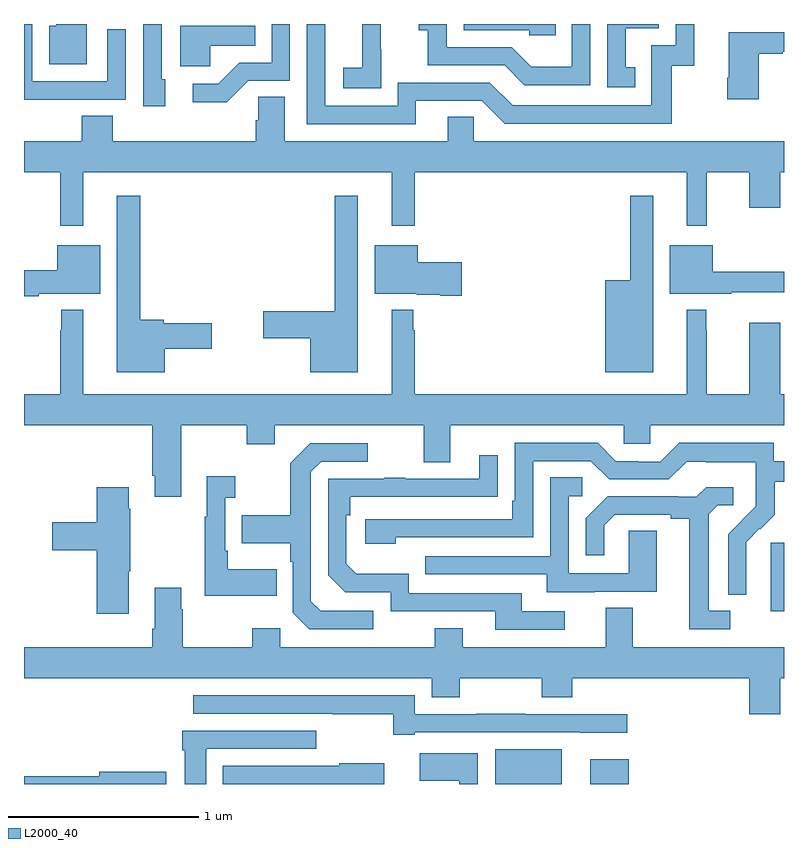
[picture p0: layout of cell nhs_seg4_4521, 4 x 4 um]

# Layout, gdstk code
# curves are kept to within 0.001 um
import gdstk
lib = gdstk.Library(unit=1e-6, precision=1e-09)
def R(c, l, rs):  # rectangles x0, y0, x1, y1
    for r in rs: c.add(gdstk.rectangle(r[:2], r[2:], *l))
def P(c, l, *ps):  # polygons
    for p in ps: c.add(gdstk.Polygon(p, *l))
L2000_40 = (2000, 40)

nhs_seg4_4521 = lib.new_cell('nhs_seg4_4521')
R(nhs_seg4_4521, L2000_40, [(355.481,826.9,355.831,827.083), (355.979,826.9,356.182,827.029), (356.93,827.81,357,828.171)])
P(nhs_seg4_4521, L2000_40, [(355.799,830.9),(355.314,830.9),(355.314,830.868),(355.659,830.868),(355.659,830.841),(355.799,830.841)],
  [(353.219,830.502),(353.535,830.502),(353.535,830.872),(353.439,830.872),(353.439,830.598),(353.043,830.598),(353.043,830.9),(353,830.9),(353,830.501),(353.219,830.501)],
  [(354.879,830.767),(354.878,830.767),(354.878,830.9),(354.779,830.9),(354.779,830.671),(354.681,830.671),(354.681,830.561),(354.879,830.561)],
  [(355.98,830.9),(355.884,830.9),(355.884,830.674),(355.67,830.674),(355.566,830.778),(355.224,830.778),(355.224,830.9),(355.077,830.9),(355.077,830.867),(355.126,830.867),(355.126,830.682),(355.529,830.682),(355.634,830.577),(355.98,830.577)],
  [(356.216,830.673),(356.167,830.673),(356.167,830.877),(356.34,830.877),(356.34,830.9),(356.07,830.9),(356.07,830.568),(356.216,830.568)],
  [(354.18,830.601),(354.399,830.601),(354.399,830.9),(354.303,830.9),(354.303,830.697),(354.134,830.697),(354.023,830.586),(353.889,830.586),(353.889,830.489),(354.067,830.489)],
  [(353.329,830.9),(353.171,830.9),(353.171,830.89),(353.132,830.89),(353.132,830.687),(353.329,830.687)],
  [(355.063,830.496),(355.41,830.496),(355.53,830.376),(356.41,830.376),(356.41,830.679),(356.528,830.679),(356.528,830.9),(356.43,830.9),(356.43,830.787),(356.301,830.787),(356.301,830.472),(355.572,830.472),(355.452,830.592),(354.966,830.592),(354.966,830.469),(354.585,830.469),(354.585,830.9),(354.489,830.9),(354.489,830.373),(355.063,830.373)],
  [(353.743,830.61),(353.724,830.61),(353.724,830.9),(353.628,830.9),(353.628,830.466),(353.743,830.466)],
  [(353.979,830.786),(354.218,830.786),(354.218,830.89),(353.822,830.89),(353.822,830.678),(353.979,830.678)],
  [(356.866,830.743),(356.993,830.743),(356.993,830.753),(357,830.753),(357,830.857),(356.708,830.857),(356.708,830.617),(356.701,830.617),(356.701,830.505),(356.866,830.505)],
  [(353.311,830.12),(354.935,830.12),(354.935,829.839),(355.057,829.839),(355.057,830.12),(356.489,830.12),(356.489,829.839),(356.593,829.839),(356.593,830.12),(356.816,830.12),(356.816,829.932),(356.98,829.932),(356.98,830.12),(357,830.12),(357,830.284),(355.368,830.284),(355.368,830.411),(355.229,830.411),(355.229,830.284),(354.373,830.284),(354.373,830.516),(354.234,830.516),(354.234,830.393),(354.221,830.393),(354.221,830.284),(353.468,830.284),(353.468,830.417),(353.303,830.417),(353.303,830.284),(353,830.284),(353,830.12),(353.19,830.12),(353.19,829.839),(353.311,829.839)],
  [(353.74,829.19),(353.989,829.19),(353.989,829.325),(353.736,829.325),(353.736,829.343),(353.611,829.343),(353.611,829.996),(353.489,829.996),(353.489,829.067),(353.74,829.067)],
  [(356.311,829.996),(356.19,829.996),(356.19,829.552),(356.06,829.552),(356.06,829.067),(356.311,829.067)],
  [(354.757,829.996),(354.636,829.996),(354.636,829.388),(354.258,829.388),(354.258,829.246),(354.506,829.246),(354.506,829.067),(354.757,829.067)],
  [(355.303,829.647),(355.072,829.647),(355.072,829.735),(354.845,829.735),(354.845,829.481),(355.068,829.481),(355.068,829.475),(355.19,829.475),(355.19,829.469),(355.303,829.469)],
  [(356.722,829.487),(357,829.487),(357,829.597),(356.626,829.597),(356.626,829.735),(356.399,829.735),(356.399,829.481),(356.722,829.481)],
  [(353.078,829.481),(353.401,829.481),(353.401,829.735),(353.174,829.735),(353.174,829.604),(353,829.604),(353,829.468),(353.078,829.468)],
  [(355.057,829.289),(355.049,829.289),(355.049,829.396),(354.935,829.396),(354.935,828.952),(353.311,828.952),(353.311,829.396),(353.196,829.396),(353.196,829.289),(353.19,829.289),(353.19,828.952),(353,828.952),(353,828.788),(353.675,828.788),(353.675,828.523),(353.687,828.523),(353.687,828.411),(353.827,828.411),(353.827,828.788),(354.172,828.788),(354.172,828.689),(354.319,828.689),(354.319,828.788),(355.103,828.788),(355.103,828.594),(355.243,828.594),(355.243,828.788),(356.157,828.788),(356.157,828.69),(356.295,828.69),(356.295,828.788),(357,828.788),(357,828.952),(356.98,828.952),(356.98,829.327),(356.816,829.327),(356.816,828.952),(356.593,828.952),(356.593,829.289),(356.591,829.289),(356.591,829.396),(356.489,829.396),(356.489,828.952),(355.057,828.952)],
  [(356.802,828.05),(356.801,828.173),(356.871,828.243),(356.874,828.24),(356.951,828.317),(356.951,828.492),(357,828.492),(357,828.6),(356.946,828.6),(356.946,828.697),(356.449,828.697),(356.349,828.597),(356.234,828.597),(356.234,828.6),(356.115,828.6),(356.019,828.696),(355.584,828.696),(355.584,828.391),(355.571,828.391),(355.571,828.294),(354.795,828.294),(354.795,828.164),(354.956,828.164),(354.956,828.198),(355.68,828.198),(355.68,828.6),(355.983,828.6),(356.079,828.504),(356.394,828.504),(356.487,828.597),(356.587,828.597),(356.587,828.593),(356.85,828.593),(356.85,828.459),(356.852,828.459),(356.852,828.362),(356.706,828.214),(356.706,827.896),(356.802,827.896)],
  [(354.838,827.811),(354.561,827.811),(354.51,827.862),(354.51,828.543),(354.564,828.597),(354.808,828.597),(354.808,828.693),(354.507,828.693),(354.402,828.587),(354.402,828.315),(354.145,828.315),(354.145,828.167),(354.402,828.167),(354.402,828.071),(354.414,828.071),(354.414,827.802),(354.501,827.715),(354.838,827.715)],
  [(355.846,827.808),(355.621,827.808),(355.621,827.904),(355.026,827.904),(355.026,828.007),(354.749,828.007),(354.696,828.06),(354.696,828.314),(354.716,828.314),(354.716,828.411),(355.493,828.412),(355.493,828.631),(355.397,828.631),(355.397,828.507),(355.007,828.507),(355.007,828.512),(354.895,828.512),(354.895,828.507),(354.6,828.507),(354.6,828),(354.69,827.91),(354.93,827.91),(354.93,827.808),(355.481,827.808),(355.481,827.712),(355.846,827.712)],
  [(354.329,828.031),(354.073,828.031),(354.073,828.127),(354.06,828.127),(354.06,828.407),(354.112,828.407),(354.112,828.52),(353.963,828.52),(353.963,828.307),(353.952,828.307),(353.952,827.891),(354.329,827.891)],
  [(356.005,827.913),(356.329,827.913),(356.329,828.233),(356.184,828.233),(356.184,828.009),(355.866,828.009),(355.866,828.414),(355.939,828.414),(355.939,828.515),(355.77,828.515),(355.77,828.099),(355.111,828.099),(355.111,828.003),(355.751,828.003),(355.751,827.909),(356.005,827.909)],
  [(353.551,828.019),(353.559,828.019),(353.559,828.35),(353.551,828.35),(353.551,828.463),(353.384,828.463),(353.384,828.278),(353.148,828.278),(353.148,828.131),(353.384,828.131),(353.384,827.796),(353.551,827.796)],
  [(356.716,827.811),(356.605,827.811),(356.605,828.319),(356.652,828.366),(356.734,828.366),(356.734,828.463),(356.59,828.463),(356.538,828.411),(356.444,828.411),(356.444,828.414),(356.072,828.414),(355.956,828.298),(355.956,828.105),(356.053,828.105),(356.053,828.261),(356.11,828.318),(356.405,828.318),(356.405,828.296),(356.501,828.296),(356.501,827.715),(356.716,827.715)],
  [(356.98,827.456),(357,827.456),(357,827.62),(356.203,827.62),(356.203,827.828),(356.063,827.828),(356.063,827.62),(355.309,827.62),(355.309,827.719),(355.162,827.719),(355.162,827.62),(354.348,827.62),(354.348,827.719),(354.202,827.719),(354.202,827.62),(353.835,827.62),(353.835,827.819),(353.827,827.819),(353.827,827.932),(353.687,827.932),(353.687,827.716),(353.675,827.716),(353.675,827.62),(353,827.62),(353,827.456),(355.145,827.456),(355.145,827.357),(355.293,827.357),(355.293,827.456),(355.726,827.456),(355.726,827.357),(355.886,827.357),(355.886,827.456),(356.816,827.456),(356.816,827.268),(356.98,827.268)],
  [(355.057,827.172),(355.927,827.172),(355.927,827.171),(356.176,827.171),(356.176,827.268),(355.637,827.268),(355.637,827.27),(355.381,827.27),(355.381,827.268),(355.057,827.268),(355.057,827.367),(353.892,827.367),(353.892,827.271),(354.625,827.271),(354.625,827.266),(354.943,827.266),(354.943,827.16),(355.057,827.16)],
  [(353.959,827.085),(354.538,827.085),(354.538,827.181),(353.834,827.181),(353.834,827.078),(353.846,827.078),(353.846,826.9),(353.959,826.9)],
  [(355.389,827.062),(355.083,827.062),(355.083,826.916),(355.292,826.916),(355.292,826.9),(355.389,826.9)],
  [(354.895,827.008),(354.659,827.008),(354.659,826.995),(354.047,826.995),(354.047,826.9),(354.895,826.9)],
  [(353.749,826.964),(353.396,826.964),(353.396,826.94),(353,826.94),(353,826.9),(353.749,826.9)])

lib.write_gds('nhs_seg4_4521.gds')
